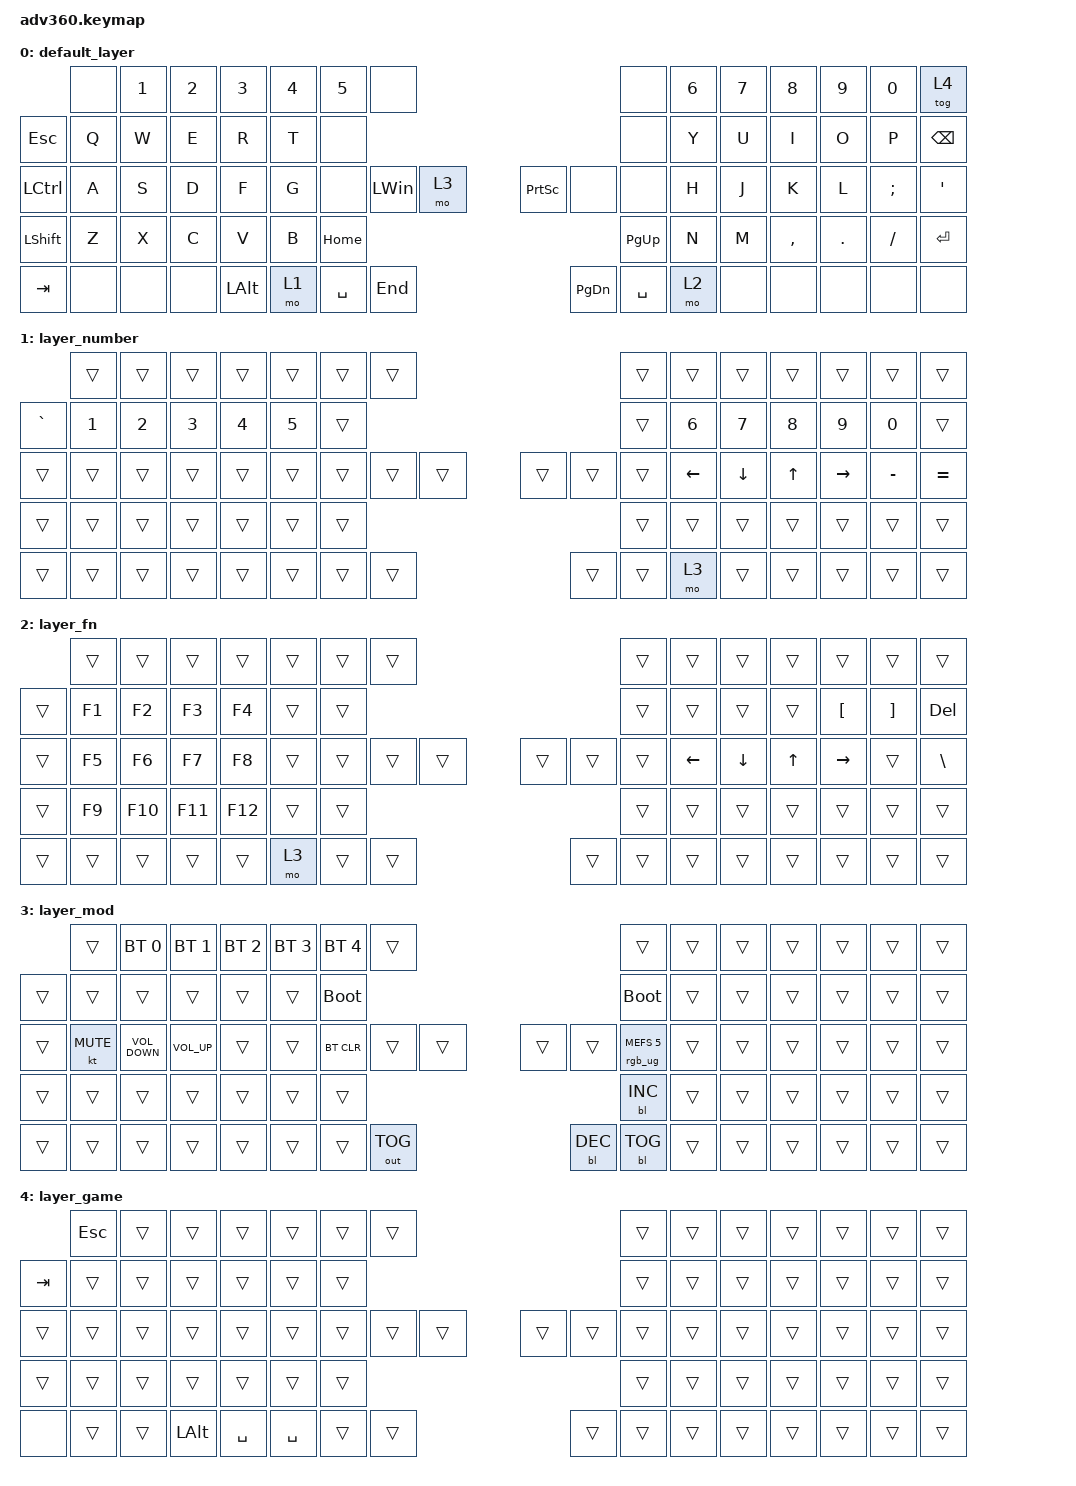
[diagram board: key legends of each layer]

/*
 * Copyright (c) 2020 The ZMK Contributors
 *
 * SPDX-License-Identifier: MIT
 */


/* THIS FILE WAS GENERATED!
 *
 * This file was generated automatically. You may or may not want to
 * edit it directly.
 */

#include <behaviors.dtsi>
#include <dt-bindings/zmk/keys.h>
#include <dt-bindings/zmk/bt.h>
#include <dt-bindings/zmk/keys.h>
#include <dt-bindings/zmk/rgb.h>
#include <dt-bindings/zmk/backlight.h>
#include <dt-bindings/zmk/outputs.h>

/ {
  behaviors {
    #include "macros.dtsi"

    hm: homerow_mods {
        compatible = "zmk,behavior-hold-tap";
        label = "HOMEROW_MODS";
        #binding-cells = <2>;
        tapping-term-ms = <200>;
        quick_tap_ms = <175>;
        flavor = "tap-preferred";
        bindings = <&kp>, <&kp>;
    };
  };

    keymap {
        compatible = "zmk,keymap";


        default_layer {
            bindings = <
            &none  &kp N1  &kp N2  &kp N3        &kp N4  &kp N5            &none                                                                       &none  &kp N6  &kp N7     &kp N8   &kp N9    &kp N0         &tog 4
          &kp ESC   &kp Q   &kp W   &kp E         &kp R   &kp T            &none                                                                       &none   &kp Y   &kp U      &kp I    &kp O     &kp P  &kp BACKSPACE
 &kp LEFT_CONTROL   &kp A   &kp S   &kp D         &kp F   &kp G            &none  &kp LEFT_WIN     &mo 3                  &kp PRINTSCREEN      &none   &none   &kp H   &kp J      &kp K    &kp L  &kp SEMI        &kp SQT
        &kp LSHFT   &kp Z   &kp X   &kp C         &kp V   &kp B                                 &kp HOME                        &kp PG_UP                      &kp N   &kp M  &kp COMMA  &kp DOT  &kp FSLH      &kp ENTER
          &kp TAB   &none   &none   &none  &kp LEFT_ALT                    &mo 1     &kp SPACE   &kp END                        &kp PG_DN  &kp SPACE   &mo 2           &none      &none    &none     &none          &none
            >;
        };

        layer_number {
            bindings = <
    &trans  &trans  &trans  &trans  &trans  &trans            &trans                                                  &trans          &trans          &trans        &trans           &trans     &trans     &trans
 &kp GRAVE  &kp N1  &kp N2  &kp N3  &kp N4  &kp N5            &trans                                                  &trans          &kp N6          &kp N7        &kp N8           &kp N9     &kp N0     &trans
    &trans  &trans  &trans  &trans  &trans  &trans            &trans  &trans  &trans                  &trans  &trans  &trans  &kp LEFT_ARROW  &kp DOWN_ARROW  &kp UP_ARROW  &kp RIGHT_ARROW  &kp MINUS  &kp EQUAL
    &trans  &trans  &trans  &trans  &trans  &trans                            &trans                  &trans                          &trans          &trans        &trans           &trans     &trans     &trans
    &trans  &trans  &trans  &trans  &trans                    &trans  &trans  &trans                  &trans  &trans   &mo 3                          &trans        &trans           &trans     &trans     &trans
            >;
        };

        layer_fn {
            bindings = <
 &trans  &trans   &trans   &trans   &trans  &trans            &trans                                                  &trans          &trans          &trans        &trans           &trans    &trans      &trans
 &trans  &kp F1   &kp F2   &kp F3   &kp F4  &trans            &trans                                                  &trans          &trans          &trans        &trans         &kp LBKT  &kp RBKT  &kp DELETE
 &trans  &kp F5   &kp F6   &kp F7   &kp F8  &trans            &trans  &trans  &trans                  &trans  &trans  &trans  &kp LEFT_ARROW  &kp DOWN_ARROW  &kp UP_ARROW  &kp RIGHT_ARROW    &trans    &kp BSLH
 &trans  &kp F9  &kp F10  &kp F11  &kp F12  &trans                            &trans                  &trans                          &trans          &trans        &trans           &trans    &trans      &trans
 &trans  &trans   &trans   &trans   &trans                     &mo 3  &trans  &trans                  &trans  &trans  &trans                          &trans        &trans           &trans    &trans      &trans
            >;
        };

        layer_mod {
            bindings = <
 &trans  &bt BT_SEL 0       &bt BT_SEL 1  &bt BT_SEL 2  &bt BT_SEL 3  &bt BT_SEL 4                 &trans                                                                                &trans  &trans  &trans  &trans  &trans  &trans  &trans
 &trans        &trans             &trans        &trans        &trans        &trans            &bootloader                                                                           &bootloader  &trans  &trans  &trans  &trans  &trans  &trans
 &trans    &kt C_MUTE  &kp C_VOLUME_DOWN  &kp C_VOL_UP        &trans        &trans             &bt BT_CLR  &trans        &trans                      &trans      &trans  &rgb_ug RGB_MEFS_CMD 5  &trans  &trans  &trans  &trans  &trans  &trans
 &trans        &trans             &trans        &trans        &trans        &trans                                       &trans                  &bl BL_INC                                      &trans  &trans  &trans  &trans  &trans  &trans
 &trans        &trans             &trans        &trans        &trans                               &trans  &trans  &out OUT_TOG                  &bl BL_DEC  &bl BL_TOG                  &trans          &trans  &trans  &trans  &trans  &trans
            >;
        };

        layer_game {
            bindings = <
 &kp ESC  &trans  &trans        &trans     &trans  &trans               &trans                                                  &trans  &trans  &trans  &trans  &trans  &trans  &trans
 &kp TAB  &trans  &trans        &trans     &trans  &trans               &trans                                                  &trans  &trans  &trans  &trans  &trans  &trans  &trans
  &trans  &trans  &trans        &trans     &trans  &trans               &trans  &trans  &trans                  &trans  &trans  &trans  &trans  &trans  &trans  &trans  &trans  &trans
  &trans  &trans  &trans        &trans     &trans  &trans                               &trans                  &trans                  &trans  &trans  &trans  &trans  &trans  &trans
   &none  &trans  &trans  &kp LEFT_ALT  &kp SPACE                    &kp SPACE  &trans  &trans                  &trans  &trans  &trans          &trans  &trans  &trans  &trans  &trans
            >;
        };

    };
};
